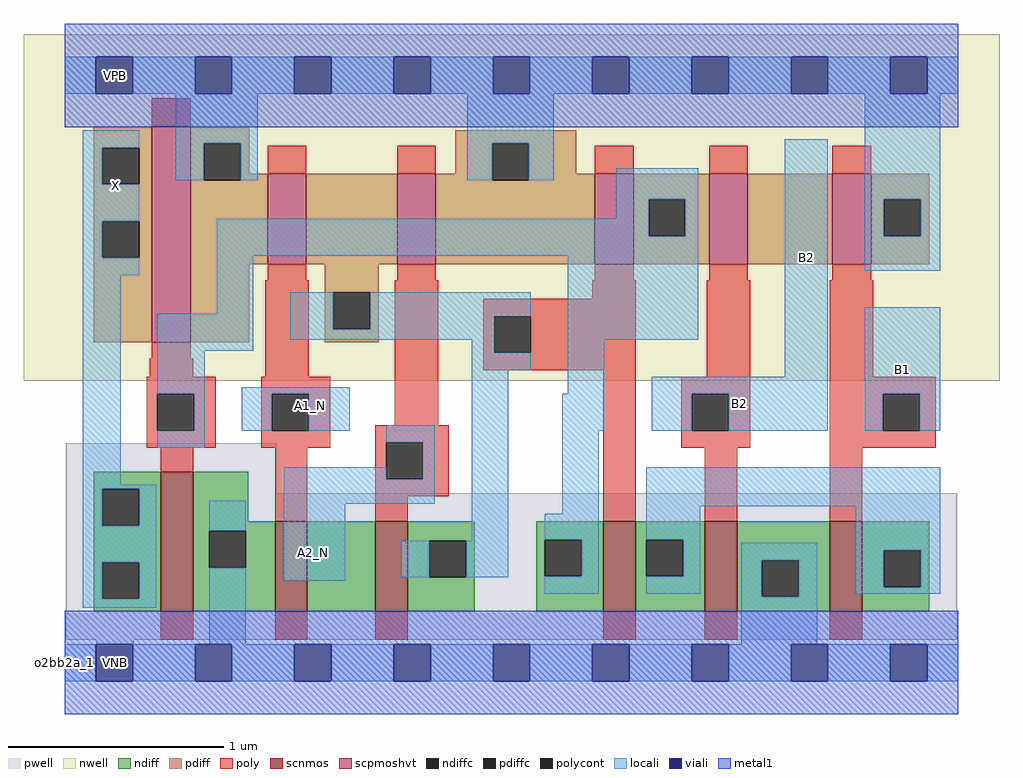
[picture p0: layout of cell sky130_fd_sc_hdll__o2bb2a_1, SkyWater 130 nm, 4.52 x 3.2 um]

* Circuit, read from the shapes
.subckt sky130_fd_sc_hdll__o2bb2a_1 A1_N A2_N B1 B2 VGND VNB VPB VPWR X
XM1 VGND n1 X VNB sky130_fd_pr__nfet_01v8 w=0.65 l=0.15
XM2 n2 A1_N VGND VNB sky130_fd_pr__nfet_01v8 w=0.42 l=0.15
XM3 n3 A2_N n2 VNB sky130_fd_pr__nfet_01v8 w=0.42 l=0.15
XM4 n4 n3 n1 VNB sky130_fd_pr__nfet_01v8 w=0.42 l=0.15
XM5 VGND B2 n4 VNB sky130_fd_pr__nfet_01v8 w=0.42 l=0.15
XM6 n4 B1 VGND VNB sky130_fd_pr__nfet_01v8 w=0.42 l=0.15
XM7 VPWR n1 X VPB sky130_fd_pr__pfet_01v8_hvt w=1 l=0.18
XM8 n3 A1_N VPWR VPB sky130_fd_pr__pfet_01v8_hvt w=0.42 l=0.18
XM9 VPWR A2_N n3 VPB sky130_fd_pr__pfet_01v8_hvt w=0.42 l=0.18
XM10 n1 n3 VPWR VPB sky130_fd_pr__pfet_01v8_hvt w=0.42 l=0.18
XM11 n5 B2 n1 VPB sky130_fd_pr__pfet_01v8_hvt w=0.42 l=0.18
XM12 VPWR B1 n5 VPB sky130_fd_pr__pfet_01v8_hvt w=0.42 l=0.18
.ends

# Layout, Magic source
magic
tech sky130A
magscale 1 2
<< nwell >>
rect -38 261 866 582
<< pwell >>
rect 1 157 196 203
rect 1 21 827 157
rect 30 -17 64 21
<< scnmos >>
rect 89 47 119 177
rect 195 47 225 131
rect 288 47 318 131
rect 499 47 529 131
rect 593 47 623 131
rect 709 47 739 131
<< scpmoshvt >>
rect 81 297 117 497
rect 188 369 224 453
rect 308 369 344 453
rect 491 369 527 453
rect 597 369 633 453
rect 711 369 747 453
<< ndiff >>
rect 27 161 89 177
rect 27 127 35 161
rect 69 127 89 161
rect 27 93 89 127
rect 27 59 35 93
rect 69 59 89 93
rect 27 47 89 59
rect 119 131 170 177
rect 119 122 195 131
rect 119 88 134 122
rect 168 88 195 122
rect 119 47 195 88
rect 225 47 288 131
rect 318 113 380 131
rect 318 79 338 113
rect 372 79 380 113
rect 318 47 380 79
rect 437 114 499 131
rect 437 80 445 114
rect 479 80 499 114
rect 437 47 499 80
rect 529 114 593 131
rect 529 80 539 114
rect 573 80 593 114
rect 529 47 593 80
rect 623 95 709 131
rect 623 61 646 95
rect 680 61 709 95
rect 623 47 709 61
rect 739 104 801 131
rect 739 70 759 104
rect 793 70 801 104
rect 739 47 801 70
<< pdiff >>
rect 27 477 81 497
rect 27 443 35 477
rect 69 443 81 477
rect 27 409 81 443
rect 27 375 35 409
rect 69 375 81 409
rect 27 297 81 375
rect 117 481 171 497
rect 117 447 129 481
rect 163 453 171 481
rect 362 481 474 493
rect 362 453 396 481
rect 163 447 188 453
rect 117 369 188 447
rect 224 369 308 453
rect 344 447 396 453
rect 430 453 474 481
rect 430 447 491 453
rect 344 369 491 447
rect 527 429 597 453
rect 527 395 541 429
rect 575 395 597 429
rect 527 369 597 395
rect 633 369 711 453
rect 747 429 801 453
rect 747 395 759 429
rect 793 395 801 429
rect 747 369 801 395
rect 117 297 171 369
rect 241 343 291 369
rect 241 309 249 343
rect 283 309 291 343
rect 241 297 291 309
<< ndiffc >>
rect 35 127 69 161
rect 35 59 69 93
rect 134 88 168 122
rect 338 79 372 113
rect 445 80 479 114
rect 539 80 573 114
rect 646 61 680 95
rect 759 70 793 104
<< pdiffc >>
rect 35 443 69 477
rect 35 375 69 409
rect 129 447 163 481
rect 396 447 430 481
rect 541 395 575 429
rect 759 395 793 429
rect 249 309 283 343
<< poly >>
rect 81 497 117 523
rect 188 453 224 479
rect 308 453 344 479
rect 491 453 527 479
rect 597 453 633 479
rect 711 453 747 479
rect 188 354 224 369
rect 81 282 117 297
rect 79 265 119 282
rect 186 265 226 354
rect 308 354 344 369
rect 491 354 527 369
rect 597 354 633 369
rect 711 354 747 369
rect 76 249 140 265
rect 76 215 86 249
rect 120 215 140 249
rect 76 199 140 215
rect 182 249 246 265
rect 182 215 192 249
rect 226 215 246 249
rect 306 220 346 354
rect 489 337 529 354
rect 388 321 529 337
rect 388 287 398 321
rect 432 287 529 321
rect 388 271 529 287
rect 182 199 246 215
rect 288 204 356 220
rect 89 177 119 199
rect 195 131 225 199
rect 288 170 298 204
rect 332 170 356 204
rect 288 154 356 170
rect 288 131 318 154
rect 499 131 529 271
rect 595 265 635 354
rect 571 249 635 265
rect 571 215 581 249
rect 615 215 635 249
rect 571 199 635 215
rect 709 265 749 354
rect 709 249 807 265
rect 709 215 758 249
rect 792 215 807 249
rect 709 199 807 215
rect 593 131 623 199
rect 709 131 739 199
rect 89 21 119 47
rect 195 21 225 47
rect 288 21 318 47
rect 499 21 529 47
rect 593 21 623 47
rect 709 21 739 47
<< polycont >>
rect 86 215 120 249
rect 192 215 226 249
rect 398 287 432 321
rect 298 170 332 204
rect 581 215 615 249
rect 758 215 792 249
<< locali >>
rect 0 527 29 561
rect 63 527 121 561
rect 155 527 213 561
rect 247 527 305 561
rect 339 527 397 561
rect 431 527 489 561
rect 523 527 581 561
rect 615 527 673 561
rect 707 527 765 561
rect 799 527 828 561
rect 17 477 69 493
rect 17 443 35 477
rect 103 481 179 527
rect 103 447 129 481
rect 163 447 179 481
rect 373 481 453 527
rect 373 447 396 481
rect 430 447 453 481
rect 17 409 69 443
rect 511 429 587 458
rect 511 411 541 429
rect 17 375 35 409
rect 17 359 69 375
rect 141 395 541 411
rect 575 395 587 429
rect 141 377 587 395
rect 17 165 52 359
rect 141 323 175 377
rect 86 289 175 323
rect 209 309 249 343
rect 283 321 432 343
rect 283 309 398 321
rect 209 299 398 309
rect 86 249 130 289
rect 377 287 398 299
rect 377 271 432 287
rect 466 299 587 377
rect 120 215 130 249
rect 164 249 264 255
rect 164 215 192 249
rect 226 215 264 249
rect 86 199 130 215
rect 298 204 343 220
rect 203 170 298 181
rect 332 170 343 204
rect 17 161 85 165
rect 17 127 35 161
rect 69 127 85 161
rect 17 93 85 127
rect 17 59 35 93
rect 69 59 85 93
rect 17 51 85 59
rect 134 122 168 150
rect 134 17 168 88
rect 203 147 343 170
rect 203 76 260 147
rect 377 113 411 271
rect 466 249 500 299
rect 667 265 707 485
rect 741 429 811 527
rect 741 395 759 429
rect 793 395 811 429
rect 741 363 811 395
rect 461 215 500 249
rect 544 249 707 265
rect 544 215 581 249
rect 615 215 707 249
rect 741 249 811 329
rect 741 215 758 249
rect 792 215 811 249
rect 461 138 495 215
rect 312 79 338 113
rect 372 79 411 113
rect 445 114 495 138
rect 479 80 495 114
rect 445 64 495 80
rect 539 145 811 181
rect 539 114 589 145
rect 573 80 589 114
rect 539 64 589 80
rect 627 95 697 111
rect 627 61 646 95
rect 680 61 697 95
rect 733 104 811 145
rect 733 70 759 104
rect 793 70 811 104
rect 733 64 811 70
rect 627 17 697 61
rect 0 -17 29 17
rect 63 -17 121 17
rect 155 -17 213 17
rect 247 -17 305 17
rect 339 -17 397 17
rect 431 -17 489 17
rect 523 -17 581 17
rect 615 -17 673 17
rect 707 -17 765 17
rect 799 -17 828 17
<< viali >>
rect 29 527 63 561
rect 121 527 155 561
rect 213 527 247 561
rect 305 527 339 561
rect 397 527 431 561
rect 489 527 523 561
rect 581 527 615 561
rect 673 527 707 561
rect 765 527 799 561
rect 29 -17 63 17
rect 121 -17 155 17
rect 213 -17 247 17
rect 305 -17 339 17
rect 397 -17 431 17
rect 489 -17 523 17
rect 581 -17 615 17
rect 673 -17 707 17
rect 765 -17 799 17
<< metal1 >>
rect 0 561 828 592
rect 0 527 29 561
rect 63 527 121 561
rect 155 527 213 561
rect 247 527 305 561
rect 339 527 397 561
rect 431 527 489 561
rect 523 527 581 561
rect 615 527 673 561
rect 707 527 765 561
rect 799 527 828 561
rect 0 496 828 527
rect 0 17 828 48
rect 0 -17 29 17
rect 63 -17 121 17
rect 155 -17 213 17
rect 247 -17 305 17
rect 339 -17 397 17
rect 431 -17 489 17
rect 523 -17 581 17
rect 615 -17 673 17
rect 707 -17 765 17
rect 799 -17 828 17
rect 0 -48 828 -17
<< labels >>
flabel locali s 211 221 245 255 0 FreeSans 400 0 0 0 A1_N
port 1 nsew signal input
flabel locali s 30 425 64 459 0 FreeSans 400 0 0 0 X
port 9 nsew signal output
flabel locali s 214 85 248 119 0 FreeSans 400 0 0 0 A2_N
port 2 nsew signal input
flabel locali s 667 265 707 485 0 FreeSans 400 0 0 0 B2
port 4 nsew signal input
flabel locali s 741 215 811 329 0 FreeSans 400 0 0 0 B1
port 3 nsew signal input
flabel pwell s 30 -17 64 17 0 FreeSans 200 0 0 0 VNB
port 6 nsew ground bidirectional
flabel nwell s 30 527 64 561 0 FreeSans 200 0 0 0 VPB
port 7 nsew power bidirectional
flabel metal1 s 30 527 64 561 0 FreeSans 200 0 0 0 VPWR
port 8 nsew power bidirectional
flabel metal1 s 30 -17 64 17 0 FreeSans 200 0 0 0 VGND
port 5 nsew ground bidirectional
rlabel comment s 0 0 0 0 4 o2bb2a_1
rlabel locali s 544 215 707 265 1 B2
port 4 nsew signal input
<< properties >>
string LEFsite unithd
string LEFclass CORE
string FIXED_BBOX 0 0 828 544
string GDS_FILE $PDKPATH/libs.ref/sky130_fd_sc_hdll/gds/sky130_fd_sc_hdll.gds
string LEFsymmetry X Y R90
string GDS_END 2540092
string GDS_START 2533364
string LEFproperties maskLayoutSubType "abstract" prCellType "standard" originalViewName "layout"
<< end >>
